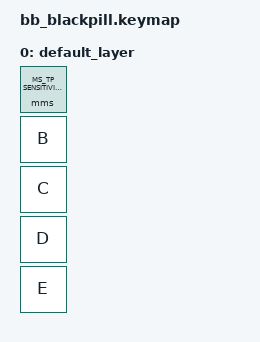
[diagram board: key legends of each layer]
/*
 * Copyright (c) 2022 The ZMK Contributors
 *
 * SPDX-License-Identifier: MIT
 */

#include <behaviors.dtsi>
#include <dt-bindings/zmk/keys.h>
#include <dt-bindings/zmk/mouse_settings.h>

#include "includes/mouse.dtsi"

/ {
    keymap {
        compatible = "zmk,keymap";

        default_layer {
            bindings = <
                // Blackpill onboard user key button
                &mms MS_TP_SENSITIVITY_INCR

                // Switches connected directly to gpio pins
                &kp B
                &kp C
                &kp D
                &kp E
            >;
        };
    };
};
